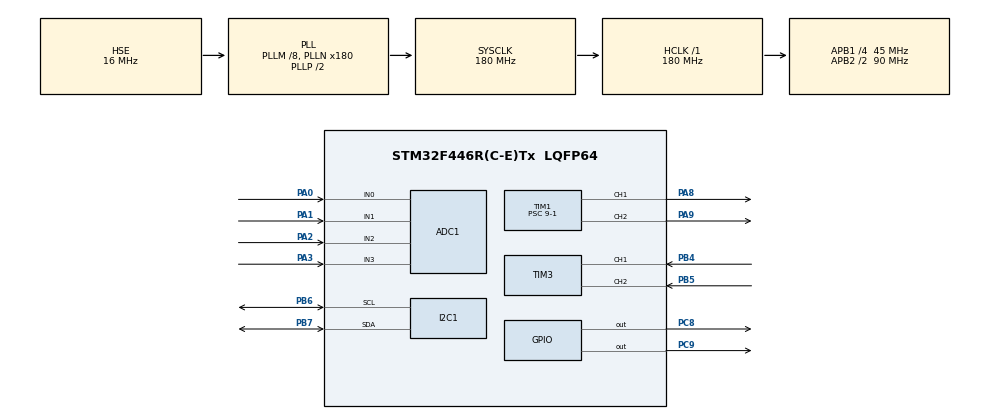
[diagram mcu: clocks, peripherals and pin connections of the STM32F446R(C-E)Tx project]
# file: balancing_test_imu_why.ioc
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ADC1.Channel-0\#ChannelRegularConversion=ADC_CHANNEL_0
ADC1.Channel-1\#ChannelRegularConversion=ADC_CHANNEL_0
ADC1.Channel-2\#ChannelRegularConversion=ADC_CHANNEL_0
ADC1.Channel-3\#ChannelRegularConversion=ADC_CHANNEL_0
ADC1.DMAContinuousRequests=ENABLE
ADC1.NbrOfConversion=4
ADC1.NbrOfConversionFlag=1
ADC1.Rank-0\#ChannelRegularConversion=1
ADC1.Rank-1\#ChannelRegularConversion=2
ADC1.Rank-2\#ChannelRegularConversion=3
ADC1.Rank-3\#ChannelRegularConversion=4
ADC1.SamplingTime-0\#ChannelRegularConversion=ADC_SAMPLETIME_15CYCLES
ADC1.SamplingTime-1\#ChannelRegularConversion=ADC_SAMPLETIME_15CYCLES
ADC1.SamplingTime-2\#ChannelRegularConversion=ADC_SAMPLETIME_15CYCLES
ADC1.SamplingTime-3\#ChannelRegularConversion=ADC_SAMPLETIME_15CYCLES
ADC1.ScanConvMode=ENABLE
ADC1.master=1
Dma.ADC1.0.Direction=DMA_PERIPH_TO_MEMORY
Dma.ADC1.0.FIFOMode=DMA_FIFOMODE_DISABLE
Dma.ADC1.0.Instance=DMA2_Stream0
Dma.ADC1.0.MemDataAlignment=DMA_MDATAALIGN_WORD
Dma.ADC1.0.MemInc=DMA_MINC_ENABLE
Dma.ADC1.0.Mode=DMA_CIRCULAR
Dma.ADC1.0.PeriphDataAlignment=DMA_PDATAALIGN_WORD
Dma.ADC1.0.PeriphInc=DMA_PINC_DISABLE
Dma.ADC1.0.Priority=DMA_PRIORITY_LOW
Dma.Request0=ADC1
Mcu.Family=STM32F4
Mcu.Name=STM32F446R(C-E)Tx
Mcu.Package=LQFP64
NVIC.ADC_IRQn=true\:0\:0\:false\:false\:true\:true\:true\:true
NVIC.DMA2_Stream0_IRQn=true\:0\:0\:false\:false\:true\:false\:true\:true
NVIC.PriorityGroup=NVIC_PRIORITYGROUP_4
NVIC.TIM1_BRK_TIM9_IRQn=true\:0\:0\:false\:false\:true\:true\:true\:true
NVIC.TIM1_CC_IRQn=true\:0\:0\:false\:false\:true\:true\:true\:true
NVIC.TIM1_TRG_COM_TIM11_IRQn=true\:0\:0\:false\:false\:true\:true\:true\:true
NVIC.TIM1_UP_TIM10_IRQn=true\:0\:0\:false\:false\:true\:true\:true\:true
NVIC.TIM6_DAC_IRQn=true\:0\:0\:false\:false\:true\:true\:true\:true
NVIC.TIM8_UP_TIM13_IRQn=true\:0\:0\:false\:false\:true\:true\:true\:true
PA0-WKUP.Signal=ADCx_IN0
PA1.Signal=ADCx_IN1
PA13.Mode=Serial_Wire
PA13.Signal=SYS_JTMS-SWDIO
PA14.Mode=Serial_Wire
PA14.Signal=SYS_JTCK-SWCLK
PA2.Signal=ADCx_IN2
PA3.Signal=ADCx_IN3
PA8.Signal=S_TIM1_CH1
PA9.Signal=S_TIM1_CH2
PB4.GPIO_PuPd=GPIO_PULLUP
PB4.Signal=S_TIM3_CH1
PB5.GPIO_PuPd=GPIO_PULLUP
PB5.Signal=S_TIM3_CH2
PB6.Mode=I2C
PB6.Signal=I2C1_SCL
PB7.Mode=I2C
PB7.Signal=I2C1_SDA
PC8.Signal=GPIO_Output
PC9.Signal=GPIO_Output
PH0-OSC_IN.Mode=HSE-External-Oscillator
PH0-OSC_IN.Signal=RCC_OSC_IN
PH1-OSC_OUT.Mode=HSE-External-Oscillator
PH1-OSC_OUT.Signal=RCC_OSC_OUT
ProjectManager.HeapSize=0x200
ProjectManager.StackSize=0x400
ProjectManager.TargetToolchain=STM32CubeIDE
RCC.AHBFreq_Value=180000000
RCC.APB1CLKDivider=RCC_HCLK_DIV4
RCC.APB1Freq_Value=45000000
RCC.APB1TimFreq_Value=90000000
RCC.APB2CLKDivider=RCC_HCLK_DIV2
RCC.APB2Freq_Value=90000000
RCC.APB2TimFreq_Value=180000000
RCC.CortexFreq_Value=180000000
RCC.HCLKFreq_Value=180000000
RCC.HSE_VALUE=16000000
RCC.PLLM=8
RCC.PLLN=180
RCC.PLLSourceVirtual=RCC_PLLSOURCE_HSE
RCC.SYSCLKFreq_VALUE=180000000
RCC.SYSCLKSource=RCC_SYSCLKSOURCE_PLLCLK
RCC.USBFreq_Value=180000000
RCC.VCOOutputFreq_Value=360000000
SH.ADCx_IN0.0=ADC1_IN0,IN0
SH.ADCx_IN1.0=ADC1_IN1,IN1
SH.ADCx_IN2.0=ADC1_IN2,IN2
SH.ADCx_IN3.0=ADC1_IN3,IN3
SH.S_TIM1_CH1.0=TIM1_CH1,PWM Generation1 CH1
SH.S_TIM1_CH2.0=TIM1_CH2,PWM Generation2 CH2
SH.S_TIM3_CH1.0=TIM3_CH1,Encoder_Interface
SH.S_TIM3_CH2.0=TIM3_CH2,Encoder_Interface
TIM1.Channel-PWM\ Generation1\ CH1=TIM_CHANNEL_1
TIM1.Channel-PWM\ Generation2\ CH2=TIM_CHANNEL_2
TIM1.Period=1000-1
TIM1.Prescaler=9-1
TIM3.EncoderMode=TIM_ENCODERMODE_TI12
TIM3.IC1Filter=5
TIM3.IC2Filter=5
TIM6.Period=1000-1
TIM6.Prescaler=900-1
TIM8.Period=10000-1
TIM8.Prescaler=180-1
TIM8.TIM_MasterOutputTrigger=TIM_TRGO_UPDATE
VP_TIM6_VS_ClockSourceINT.Mode=Enable_Timer
VP_TIM8_VS_ClockSourceINT.Mode=Internal
board=custom

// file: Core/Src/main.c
/* USER CODE BEGIN Header */
/**
  ******************************************************************************
  * @file           : main.c
  * @brief          : Main program body
  ******************************************************************************
  * @attention
  *
  * Copyright (c) 2024 STMicroelectronics.
  * All rights reserved.
  *
  * This software is licensed under terms that can be found in the LICENSE file
  * in the root directory of this software component.
  * If no LICENSE file comes with this software, it is provided AS-IS.
  *
  ******************************************************************************
  */
/* USER CODE END Header */
#include "main.h"

#include "adc.h"
#include "dma.h"
#include "i2c.h"
#include "tim.h"
#include "gpio.h"
#include <math.h>

/* USER CODE BEGIN Includes */
int desired_velocity = 0;
int current_velocity = 0;
int actual_velocity;
int rotary_sensor_value;
int iteration = 0;
int rotation_data[2];
int desired_rpm;
int actual_rpm;
float tilt_angle_filtered = 0;
const float beta = 0.98;
float tilt_angle_estimated = 0;
float Process_Noise_Pos = 0.001;
float Process_Noise_Vel = 0.003;
float Measurement_Noise = 0.5;

float rate_bias = 0;
float Error_Cov[2][2] = {{1, 0}, {0, 1}};
float Accel_X, Accel_Y, Accel_Z, Gyro_X, Gyro_Y, Gyro_Z;
float tilt_angle;
float processed_angle;
/* USER CODE END Includes */

/* USER CODE BEGIN PD */
#define IMU_ADDR 0xD0
#define IMU_SAMPLE_RATE_REG 0x19
#define IMU_CONFIG_REG 0x1A
#define IMU_GYRO_CONFIG_REG 0x1B
#define IMU_ACCEL_CONFIG_REG 0x1C
#define IMU_WHO_AM_I_REG 0x75
#define IMU_PWR_MGMT_1_REG 0x6B
#define IMU_ACCEL_XOUT_H_REG 0x3B
#define IMU_GYRO_XOUT_H_REG 0x43
/* USER CODE END PD */

/* USER CODE BEGIN PV */
uint8_t imu_check;
int16_t Raw_AccelX = 0;
int16_t Raw_AccelY = 0;
int16_t Raw_AccelZ = 0;
int16_t Raw_GyroX = 0;
int16_t Raw_GyroY = 0;
int16_t Raw_GyroZ = 0;
/* USER CODE END PV */

void SystemClock_Config(void);
/* USER CODE BEGIN PFP */
void IMU_Initialize(void);
void IMU_ReadAccelerometer(void);
void IMU_ReadGyroscope(void);
float ComputeTiltAngle(float Gx, float Gz);

void SystemClock_Config(void);
void Error_Handler(void);
void UpdateTiltAngle(void);
void TiltEstimator(float new_angle, float new_rate);
/* USER CODE END PFP */

/* USER CODE BEGIN 0 */
void TiltEstimator(float new_angle, float new_rate)
{
    float dt = 0.01;
    tilt_angle_estimated += (new_rate - rate_bias) * dt;

    Error_Cov[0][0] += Process_Noise_Pos;
    Error_Cov[0][1] -= Error_Cov[0][1] * dt;
    Error_Cov[1][0] -= Error_Cov[1][0] * dt;
    Error_Cov[1][1] += Process_Noise_Vel * dt;

    float y = new_angle - tilt_angle_estimated;
    float S = Error_Cov[0][0] + Measurement_Noise;
    float K[2];
    K[0] = Error_Cov[0][0] / S;
    K[1] = Error_Cov[1][0] / S;

    tilt_angle_estimated += K[0] * y;
    rate_bias += K[1] * y;

    float P00_temp = Error_Cov[0][0];
    Error_Cov[0][0] -= K[0] * P00_temp;
    Error_Cov[0][1] -= K[0] * Error_Cov[0][1];
    Error_Cov[1][0] -= K[1] * P00_temp;
    Error_Cov[1][1] -= K[1] * Error_Cov[0][1];
}

void UpdateTiltAngle(void)
{
    tilt_angle += Gyro_X * (1.0 / 1000.0);
    float tilt_angle_accel = ComputeTiltAngle(Accel_X, Accel_Z);
    tilt_angle_filtered = beta * tilt_angle_filtered + (1 - beta) * tilt_angle_accel;
}

void IMU_Initialize(void)
{
  uint8_t imu_check;
  uint8_t ConfigData;

  HAL_I2C_Mem_Read(&hi2c1, IMU_ADDR, IMU_WHO_AM_I_REG, 1, &imu_check, 1, 1000);

  if (imu_check == 104)
  {
    ConfigData = 0;
    HAL_I2C_Mem_Write(&hi2c1, IMU_ADDR, IMU_PWR_MGMT_1_REG, 1, &ConfigData, 1, 1000);

    ConfigData = 0x07;
    HAL_I2C_Mem_Write(&hi2c1, IMU_ADDR, IMU_SAMPLE_RATE_REG, 1, &ConfigData, 1, 1000);

    ConfigData = 0x00;
    HAL_I2C_Mem_Write(&hi2c1, IMU_ADDR, IMU_ACCEL_CONFIG_REG, 1, &ConfigData, 1, 1000);

    ConfigData = 0x00;
    HAL_I2C_Mem_Write(&hi2c1, IMU_ADDR, IMU_GYRO_CONFIG_REG, 1, &ConfigData, 1, 1000);
  }
}

void IMU_ReadAccelerometer(void)
{
  uint8_t ReceivedData[6];

  HAL_I2C_Mem_Read(&hi2c1, IMU_ADDR, IMU_ACCEL_XOUT_H_REG, 1, ReceivedData, 6, 1000);

  Raw_AccelX = (int16_t)(ReceivedData[0] << 8 | ReceivedData[1]);
  Raw_AccelY = (int16_t)(ReceivedData[2] << 8 | ReceivedData[3]);
  Raw_AccelZ = (int16_t)(ReceivedData[4] << 8 | ReceivedData[5]);

  Accel_X = Raw_AccelX / 16384.0;
  Accel_Y = Raw_AccelY / 16384.0;
  Accel_Z = Raw_AccelZ / 16384.0;
}

void IMU_ReadGyroscope(void)
{
  uint8_t ReceivedData[6];

  HAL_I2C_Mem_Read(&hi2c1, IMU_ADDR, IMU_GYRO_XOUT_H_REG, 1, ReceivedData, 6, 1000);

  Raw_GyroX = (int16_t)(ReceivedData[0] << 8 | ReceivedData[1]);
  Raw_GyroY = (int16_t)(ReceivedData[2] << 8 | ReceivedData[3]);
  Raw_GyroZ = (int16_t)(ReceivedData[4] << 8 | ReceivedData[5]);

  Gyro_X = Raw_GyroX / 131.0;
  Gyro_Y = Raw_GyroY / 131.0;
  Gyro_Z = Raw_GyroZ / 131.0;
}

float ComputeTiltAngle(float Gx, float Gz)
{
  return atan2(Gx, Gz) * 180 / 3.14159265;
}
/* USER CODE END 0 */

int main(void)
{

  /* MCU Configuration--------------------------------------------------------*/

  /* Reset of all peripherals, Initializes the Flash interface and the Systick. */
  HAL_Init();

  /* Configure the system clock */
  SystemClock_Config();

  /* Initialize all configured peripherals */
  MX_GPIO_Init();
  MX_DMA_Init();
  MX_TIM1_Init();
  MX_TIM3_Init();
  MX_TIM6_Init();
  MX_I2C1_Init();
  MX_ADC1_Init();
  MX_TIM8_Init();
  /* USER CODE BEGIN 2 */
  HAL_TIM_PWM_Start(&htim1, TIM_CHANNEL_1);
  HAL_TIM_PWM_Start(&htim1, TIM_CHANNEL_2);
  HAL_TIM_Encoder_Start(&htim3, TIM_CHANNEL_ALL);
  HAL_TIM_Base_Start_IT(&htim6);

  IMU_Initialize();
  /* USER CODE END 2 */

  /* Infinite loop */
  /* USER CODE BEGIN WHILE */
  while (1)
  {
    IMU_ReadAccelerometer();
    IMU_ReadGyroscope();

    tilt_angle = ComputeTiltAngle(Gyro_X, Gyro_Z);
    UpdateTiltAngle();
    TiltEstimator(tilt_angle, Gyro_X);

    processed_angle = tilt_angle_filtered;
    rotary_sensor_value = TIM3->CNT;

   if(processed_angle<=0)
        {
           HAL_GPIO_WritePin(GPIOC, GPIO_PIN_8, RESET);
           HAL_GPIO_WritePin(GPIOC, GPIO_PIN_9, RESET);
           if(processed_angle*10>-800)
           {
              TIM1->CCR1 = -processed_angle*7;
              TIM1->CCR2 = -processed_angle*7;
           }
        }
        else if(processed_angle>0)
        {
            HAL_GPIO_WritePin(GPIOC, GPIO_PIN_8, SET);
            HAL_GPIO_WritePin(GPIOC, GPIO_PIN_9, SET);
            if(processed_angle*10<800)
            {
               TIM1->CCR1 = processed_angle*7;
               TIM1->CCR2 = processed_angle*7;
            }
        }

    if((rotation_data[0] - rotation_data[1])>=0)
    {
       actual_velocity = ((rotation_data[0] - rotation_data[1]) + 3) * 10;
    }
    else if((rotation_data[0] - rotation_data[1])<0)
    {
       actual_velocity = -((rotation_data[0] - rotation_data[1]) + 3) * 10;
    }
  }
  /* USER CODE END WHILE */
}
/* USER CODE END 3 */

void SystemClock_Config(void)
{
  RCC_OscInitTypeDef RCC_OscInitStruct = {0};
  RCC_ClkInitTypeDef RCC_ClkInitStruct = {0};

  /** Configure the main internal regulator output voltage
  */
  __HAL_RCC_PWR_CLK_ENABLE();
  __HAL_PWR_VOLTAGESCALING_CONFIG(PWR_REGULATOR_VOLTAGE_SCALE1);

  /** Initializes the RCC Oscillators according to the specified parameters
  * in the RCC_OscInitTypeDef structure.
  */
  RCC_OscInitStruct.OscillatorType = RCC_OSCILLATORTYPE_HSE;
  RCC_OscInitStruct.HSEState = RCC_HSE_ON;
  RCC_OscInitStruct.PLL.PLLState = RCC_PLL_ON;
  RCC_OscInitStruct.PLL.PLLSource = RCC_PLLSOURCE_HSE;
  RCC_OscInitStruct.PLL.PLLM = 8;
  RCC_OscInitStruct.PLL.PLLN = 180;
  RCC_OscInitStruct.PLL.PLLP = RCC_PLLP_DIV2;
  RCC_OscInitStruct.PLL.PLLQ = 2;
  RCC_OscInitStruct.PLL.PLLR = 2;
  if (HAL_RCC_OscConfig(&RCC_OscInitStruct) != HAL_OK)
  {
    Error_Handler();
  }

  /** Activate the Over-Drive mode
  */
  if (HAL_PWREx_EnableOverDrive() != HAL_OK)
  {
    Error_Handler();
  }

  /** Initializes the CPU, AHB and APB buses clocks
  */
  RCC_ClkInitStruct.ClockType = RCC_CLOCKTYPE_HCLK|RCC_CLOCKTYPE_SYSCLK|RCC_CLOCKTYPE_PCLK1|RCC_CLOCKTYPE_PCLK2;
  RCC_ClkInitStruct.SYSCLKSource = RCC_SYSCLKSOURCE_PLLCLK;
  RCC_ClkInitStruct.AHBCLKDivider = RCC_SYSCLK_DIV1;
  RCC_ClkInitStruct.APB1CLKDivider = RCC_HCLK_DIV4;
  RCC_ClkInitStruct.APB2CLKDivider = RCC_HCLK_DIV2;

  if (HAL_RCC_ClockConfig(&RCC_ClkInitStruct, FLASH_LATENCY_5) != HAL_OK)
  {
    Error_Handler();
  }
}

void Error_Handler(void)
{
  __disable_irq();
  while (1)
  {
  }
}
